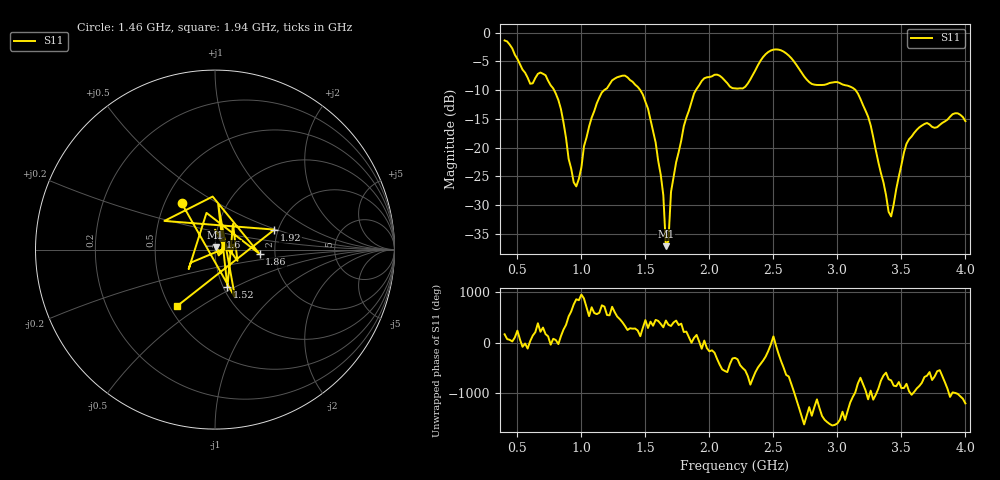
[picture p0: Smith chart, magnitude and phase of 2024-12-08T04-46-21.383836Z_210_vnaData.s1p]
!Created with skrf (http://scikit-rf.org).
# Hz S RI R 50.0
!freq ReS11 ImS11
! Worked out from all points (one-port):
!   181 points, 400 MHz to 4 GHz, reference 50 ohm
!   lowest |S11| = -37.1 dB at 1.66 GHz (marker M1), VSWR 1.03, Z = 50.3 + j1.36 ohm
!   |S11| at or under -10 dB: 786.7 MHz to 1.178 GHz (391.2 MHz wide, 39.8 % of centre); 1.46 GHz to 1.895 GHz (434.4 MHz wide, 25.9 % of centre); 3.142 GHz to end of sweep
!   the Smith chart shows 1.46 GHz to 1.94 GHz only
!   S11 on the Smith chart (normalised r, x): 1.46 GHz: 0.61, +0.35; 1.52 GHz: 1.05, -0.46; 1.6 GHz: 1.04, +0.15; 1.86 GHz: 1.66, -0.08; 1.92 GHz: 1.91, +0.48; 1.94 GHz: 0.55, -0.40
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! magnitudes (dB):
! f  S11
! 400 MHz  -1.4
! 600 MHz  -8.9
! 720 MHz  -7.4
! 860 MHz  -15.6
! 960 MHz  -26.7
! 1.12 GHz  -12.3
! 1.3 GHz  -7.6
! 1.46 GHz  -10.0
! 1.52 GHz  -13.2
! 1.6 GHz  -22.3
! 1.64 GHz  -28.3
! 1.66 GHz  -37.1
! 1.68 GHz  -36.2
! 1.7 GHz  -27.7
! 1.76 GHz  -20.8
! 1.86 GHz  -12.1
! 1.92 GHz  -9.1
! 1.94 GHz  -8.4
! 2.2 GHz  -9.7
! 2.48 GHz  -3.1
! 2.66 GHz  -5.0
! 2.8 GHz  -8.9
! 3.1 GHz  -9.4
! 3.24 GHz  -14.6
! 3.42 GHz  -32.0
! 3.56 GHz  -18.5
! 3.92 GHz  -14.0
! 4 GHz  -15.4
